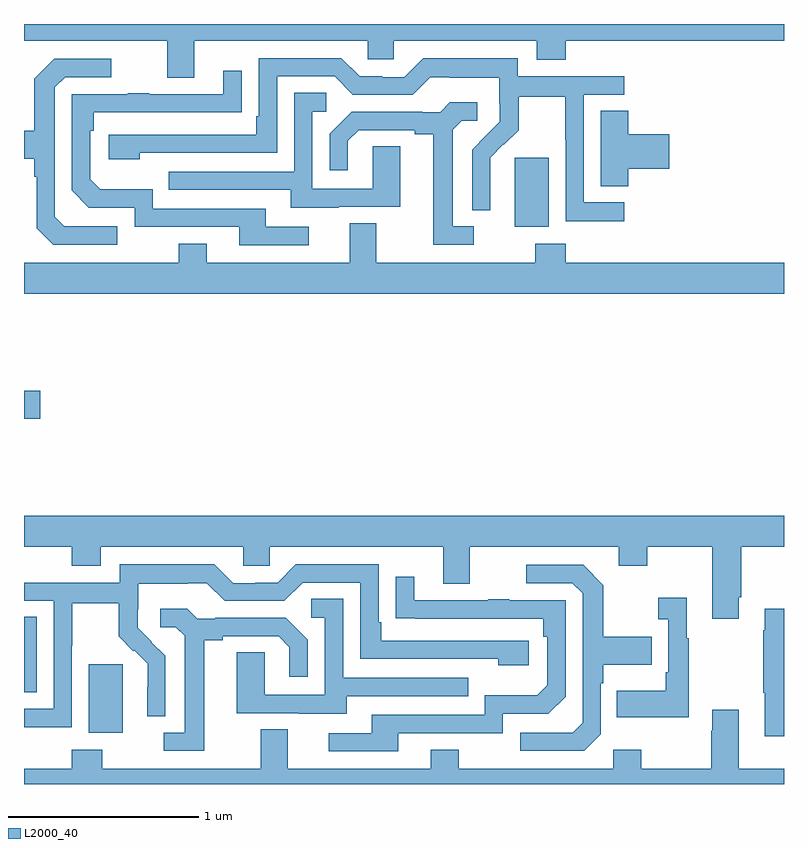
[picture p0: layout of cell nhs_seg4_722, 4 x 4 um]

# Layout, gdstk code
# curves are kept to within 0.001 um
import gdstk
lib = gdstk.Library(unit=1e-6, precision=1e-09)
def R(c, l, rs):  # rectangles x0, y0, x1, y1
    for r in rs: c.add(gdstk.rectangle(r[:2], r[2:], *l))
def P(c, l, *ps):  # polygons
    for p in ps: c.add(gdstk.Polygon(p, *l))
L2000_40 = (2000, 40)

nhs_seg4_722 = lib.new_cell('nhs_seg4_722')
R(nhs_seg4_722, L2000_40, [(147.341,801.17,147.52,801.531), (147,801.382,147.067,801.779), (147,802.823,147.085,802.97), (149.582,803.834,149.761,804.195)])
P(nhs_seg4_722, L2000_40, [(147.895,804.812),(148.809,804.812),(148.809,804.714),(148.947,804.714),(148.947,804.812),(149.699,804.812),(149.699,804.713),(149.852,804.713),(149.852,804.812),(151,804.812),(151,804.9),(147,804.9),(147,804.812),(147.755,804.812),(147.755,804.618),(147.895,804.618)],
  [(150.16,803.961),(149.946,803.961),(149.946,804.528),(150.16,804.528),(150.16,804.624),(149.598,804.624),(149.598,804.721),(149.101,804.721),(149.001,804.621),(148.886,804.621),(148.886,804.624),(148.767,804.624),(148.671,804.72),(148.236,804.72),(148.236,804.415),(148.223,804.415),(148.223,804.318),(147.447,804.318),(147.447,804.188),(147.608,804.188),(147.608,804.222),(148.332,804.222),(148.332,804.624),(148.635,804.624),(148.731,804.528),(149.046,804.528),(149.139,804.621),(149.239,804.621),(149.239,804.617),(149.502,804.617),(149.502,804.483),(149.504,804.483),(149.504,804.386),(149.358,804.238),(149.358,803.92),(149.454,803.92),(149.453,804.197),(149.523,804.267),(149.526,804.264),(149.603,804.341),(149.603,804.516),(149.848,804.516),(149.848,804.292),(149.85,804.292),(149.85,803.863),(150.16,803.863)],
  [(147.49,803.835),(147.213,803.835),(147.162,803.886),(147.162,804.567),(147.216,804.621),(147.46,804.621),(147.46,804.717),(147.159,804.717),(147.054,804.611),(147.054,804.339),(147,804.339),(147,804.191),(147.054,804.191),(147.054,804.095),(147.066,804.095),(147.066,803.826),(147.153,803.739),(147.49,803.739)],
  [(148.498,803.832),(148.273,803.832),(148.273,803.928),(147.678,803.928),(147.678,804.031),(147.401,804.031),(147.348,804.084),(147.348,804.338),(147.368,804.338),(147.368,804.435),(148.145,804.436),(148.145,804.655),(148.049,804.655),(148.049,804.531),(147.659,804.531),(147.659,804.536),(147.547,804.536),(147.547,804.531),(147.252,804.531),(147.252,804.024),(147.342,803.934),(147.582,803.934),(147.582,803.832),(148.133,803.832),(148.133,803.736),(148.498,803.736)],
  [(148.657,803.937),(148.981,803.937),(148.981,804.257),(148.836,804.257),(148.836,804.033),(148.518,804.033),(148.518,804.438),(148.591,804.438),(148.591,804.539),(148.422,804.539),(148.422,804.123),(147.763,804.123),(147.763,804.027),(148.403,804.027),(148.403,803.933),(148.657,803.933)],
  [(149.368,803.835),(149.257,803.835),(149.257,804.343),(149.304,804.39),(149.386,804.39),(149.386,804.487),(149.242,804.487),(149.19,804.435),(149.096,804.435),(149.096,804.438),(148.724,804.438),(148.608,804.322),(148.608,804.129),(148.705,804.129),(148.705,804.285),(148.762,804.342),(149.057,804.342),(149.057,804.32),(149.153,804.32),(149.153,803.739),(149.368,803.739)],
  [(150.179,804.137),(150.397,804.137),(150.397,804.32),(150.179,804.32),(150.179,804.443),(150.035,804.443),(150.035,804.046),(150.179,804.046)],
  [(151,803.644),(149.852,803.644),(149.852,803.743),(149.692,803.743),(149.692,803.644),(148.855,803.644),(148.855,803.852),(148.715,803.852),(148.715,803.644),(147.961,803.644),(147.961,803.743),(147.814,803.743),(147.814,803.644),(147,803.644),(147,803.48),(151,803.48)],
  [(150.763,801.883),(150.776,801.883),(150.776,802.148),(151,802.148),(151,802.312),(147,802.312),(147,802.148),(147.251,802.148),(147.251,802.049),(147.403,802.049),(147.403,802.148),(148.155,802.148),(148.155,802.05),(148.293,802.05),(148.293,802.148),(149.207,802.148),(149.207,801.954),(149.347,801.954),(149.347,802.148),(150.131,802.148),(150.131,802.049),(150.279,802.049),(150.279,802.148),(150.623,802.148),(150.623,801.771),(150.763,801.771)],
  [(147.252,801.628),(147.255,801.628),(147.255,801.852),(147.499,801.852),(147.499,801.677),(147.576,801.6),(147.579,801.603),(147.65,801.533),(147.65,801.41),(147.648,801.41),(147.648,801.256),(147.744,801.256),(147.744,801.574),(147.598,801.722),(147.598,801.819),(147.6,801.819),(147.6,801.953),(147.863,801.953),(147.863,801.957),(147.963,801.957),(148.056,801.864),(148.371,801.864),(148.467,801.96),(148.77,801.96),(148.77,801.558),(149.495,801.558),(149.495,801.524),(149.656,801.524),(149.656,801.654),(148.879,801.654),(148.879,801.751),(148.866,801.751),(148.866,802.056),(148.431,802.056),(148.335,801.96),(148.217,801.96),(148.217,801.957),(148.101,801.957),(148.001,802.057),(147.504,802.057),(147.504,801.96),(147,801.96),(147,801.864),(147.156,801.864),(147.156,801.297),(147,801.297),(147,801.199),(147.252,801.199)],
  [(150.036,801.162),(150.036,801.431),(150.049,801.431),(150.049,801.527),(150.305,801.527),(150.305,801.675),(150.049,801.675),(150.049,801.947),(149.943,802.053),(149.643,802.053),(149.643,801.957),(149.886,801.957),(149.94,801.903),(149.94,801.222),(149.889,801.171),(149.613,801.171),(149.613,801.075),(149.949,801.075)],
  [(148.969,801.168),(149.52,801.168),(149.52,801.27),(149.76,801.27),(149.85,801.36),(149.85,801.867),(149.555,801.867),(149.555,801.872),(149.443,801.872),(149.443,801.867),(149.053,801.867),(149.053,801.991),(148.957,801.991),(148.957,801.772),(149.734,801.771),(149.734,801.674),(149.754,801.674),(149.754,801.42),(149.701,801.367),(149.424,801.367),(149.424,801.264),(148.829,801.264),(148.829,801.168),(148.605,801.168),(148.605,801.072),(148.969,801.072)],
  [(150.499,801.667),(150.487,801.667),(150.487,801.88),(150.339,801.88),(150.339,801.767),(150.39,801.767),(150.39,801.487),(150.378,801.487),(150.378,801.391),(150.121,801.391),(150.121,801.251),(150.499,801.251)],
  [(148.699,801.363),(149.339,801.363),(149.339,801.459),(148.68,801.459),(148.68,801.875),(148.512,801.875),(148.512,801.774),(148.584,801.774),(148.584,801.369),(148.266,801.369),(148.266,801.593),(148.121,801.593),(148.121,801.273),(148.445,801.273),(148.445,801.269),(148.699,801.269)],
  [(151,801.823),(150.899,801.823),(150.899,801.71),(150.892,801.71),(150.892,801.379),(150.899,801.379),(150.899,801.152),(151,801.152)],
  [(147.949,801.656),(148.045,801.656),(148.045,801.678),(148.34,801.678),(148.397,801.621),(148.397,801.465),(148.494,801.465),(148.494,801.658),(148.378,801.774),(148.006,801.774),(148.006,801.771),(147.912,801.771),(147.86,801.823),(147.717,801.823),(147.717,801.726),(147.798,801.726),(147.845,801.679),(147.845,801.171),(147.735,801.171),(147.735,801.075),(147.949,801.075)],
  [(149.289,801.079),(149.141,801.079),(149.141,800.98),(148.387,800.98),(148.387,801.188),(148.247,801.188),(148.247,800.98),(147.411,800.98),(147.411,801.079),(147.251,801.079),(147.251,800.98),(147,800.98),(147,800.9),(151,800.9),(151,800.98),(150.763,800.98),(150.763,801.292),(150.623,801.292),(150.623,801.179),(150.616,801.179),(150.616,800.98),(150.249,800.98),(150.249,801.079),(150.102,801.079),(150.102,800.98),(149.289,800.98)])

lib.write_gds('nhs_seg4_722.gds')
